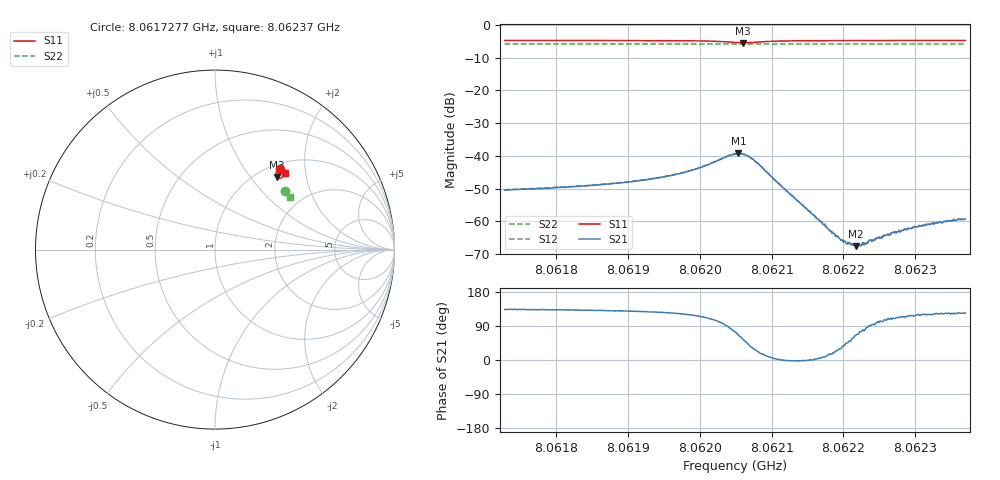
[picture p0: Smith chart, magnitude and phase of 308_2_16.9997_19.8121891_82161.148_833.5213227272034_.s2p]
#  HZ  S  RI  R  50.00
! Rohde & Schwarz Vector Network Analyzer
! Rohde-Schwarz,ZNB20-2Port,1311601062101988,3.16
! Created: UTC 3/20/2024, 11:05:53 PM
! freq[Hz]  re:S11  im:S11  re:S21  im:S21  re:S12  im:S12  re:S22  im:S22
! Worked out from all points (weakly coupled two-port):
!   401 points, 8.0617277 GHz to 8.06237 GHz, reference 50 ohm
!   highest |S21| = -39.27 dB at 8.0620537 GHz (marker M1); lowest = -67.5 dB at 8.0622175 GHz (marker M2)
!   lowest |S11| = -5.5 dB at 8.0620601 GHz (marker M3), VSWR 3.26, Z = 61 + j68.2 ohm
!   |S11| at or under -10 dB: nowhere
!   |S22| runs from -5.9 to -5.8 dB; largest |S21 - S12| = 0.00083
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8.06172773e9  0.3601 0.4496  -0.00207 0.00219  -0.00197 0.00233  0.392 0.3269
8.06183531e9  0.3674 0.4431  -0.00228 0.00258  -0.00217 0.00273  0.3961 0.3216
8.0619429e9  0.376 0.4336  -0.00269 0.00373  -0.00252 0.00395  0.4001 0.3161
8.06199267e9  0.3803 0.4236  -0.00286 0.00549  -0.00255 0.00572  0.402 0.3132
8.06204887e9  0.3604 0.3969  0.00294 0.0102  0.00362 0.0102  0.4027 0.3097
8.06205369e9  0.3538 0.3976  0.00442 0.00993  0.00504 0.00965  0.4027 0.3096
8.06206011e9  0.3457 0.4019  0.00618 0.00859  0.00674 0.00824  0.4025 0.3095
8.06207777e9  0.3388 0.4232  0.00728 0.00351  0.00753 0.00317  0.4032 0.3098
8.06215645e9  0.3679 0.4384  0.00128 2.06e-06  0.00135 -9.22e-05  0.4073 0.3064
8.06218536e9  0.3726 0.4364  0.000623 0.000212  0.000633 0.000146  0.4085 0.305
8.0621966e9  0.3741 0.4357  0.000446 0.000254  0.000462 0.000244  0.4089 0.3042
8.06220623e9  0.3752 0.4352  0.000315 0.000326  0.000343 0.000332  0.4094 0.3036
8.06221747e9  0.3764 0.4344  0.000172 0.000385  0.00018 0.000392  0.4098 0.3031
8.06222229e9  0.3771 0.4341  0.000114 0.000414  0.000157 0.000394  0.41 0.3029
8.06223032e9  0.3778 0.4336  7.44e-05 0.000459  9.9e-05 0.000459  0.4101 0.3026
8.06223834e9  0.3785 0.4332  -9.6e-07 0.000518  1.25e-05 0.000508  0.4107 0.302
8.06224958e9  0.3796 0.4326  -8.31e-05 0.000552  -3.01e-05 0.000579  0.4109 0.3014
8.06226404e9  0.3808 0.4315  -0.000185 0.000586  -0.000159 0.000603  0.4114 0.3008
8.06228652e9  0.3826 0.4303  -0.000278 0.00069  -0.000268 0.00071  0.4124 0.2996
8.06232666e9  0.3855 0.428  -0.000515 0.000806  -0.000429 0.000814  0.4138 0.2975
8.06234432e9  0.3868 0.427  -0.000545 0.000848  -0.000493 0.000907  0.4143 0.2965
8.06237001e9  0.3885 0.4256  -0.000602 0.000897  -0.000537 0.00095  0.4152 0.2954
